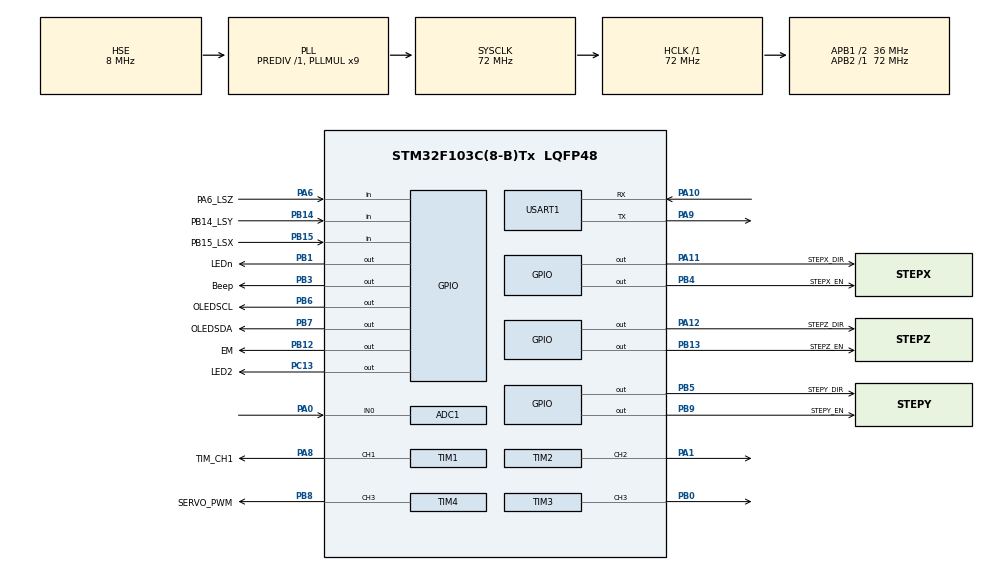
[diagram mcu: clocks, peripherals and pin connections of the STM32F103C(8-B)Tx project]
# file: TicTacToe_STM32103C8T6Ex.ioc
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ADC1.Channel-7\#ChannelRegularConversion=ADC_CHANNEL_0
ADC1.ContinuousConvMode=DISABLE
ADC1.DiscontinuousConvMode=DISABLE
ADC1.EnableAnalogWatchDog=false
ADC1.EnableInjectedConversion=DISABLE
ADC1.EnableRegularConversion=ENABLE
ADC1.NbrOfConversion=1
ADC1.NbrOfConversionFlag=1
ADC1.Rank-7\#ChannelRegularConversion=1
ADC1.SamplingTime-7\#ChannelRegularConversion=ADC_SAMPLETIME_7CYCLES_5
ADC1.master=1
Mcu.Family=STM32F1
Mcu.Name=STM32F103C(8-B)Tx
Mcu.Package=LQFP48
NVIC.ADC1_2_IRQn=true\:2\:0\:true\:false\:true\:true\:true\:true
NVIC.PriorityGroup=NVIC_PRIORITYGROUP_4
NVIC.TIM1_CC_IRQn=true\:0\:0\:false\:false\:true\:true\:true\:true
NVIC.TIM2_IRQn=true\:0\:0\:false\:false\:true\:true\:true\:true
NVIC.TIM3_IRQn=true\:0\:0\:false\:false\:true\:true\:true\:true
NVIC.TIM4_IRQn=true\:1\:0\:true\:false\:true\:true\:true\:true
NVIC.USART1_IRQn=true\:2\:0\:true\:false\:true\:true\:true\:true
PA0-WKUP.Signal=ADCx_IN0
PA1.Signal=S_TIM2_CH2
PA10.GPIO_Mode=GPIO_MODE_INPUT
PA10.GPIO_PuPd=GPIO_NOPULL
PA10.Mode=Asynchronous
PA10.Signal=USART1_RX
PA11.GPIO_Label=STEPX_DIR
PA11.GPIO_PuPd=GPIO_PULLUP
PA11.Signal=GPIO_Output
PA12.GPIO_Label=STEPZ_DIR
PA12.GPIO_PuPd=GPIO_PULLUP
PA12.Signal=GPIO_Output
PA13.GPIO_Label=SWDIO
PA13.Mode=Serial_Wire
PA13.Signal=SYS_JTMS-SWDIO
PA14.GPIO_Label=SWCLK
PA14.Mode=Serial_Wire
PA14.Signal=SYS_JTCK-SWCLK
PA6.GPIO_Label=PA6_LSZ
PA6.GPIO_PuPd=GPIO_PULLUP
PA6.Signal=GPIO_Input
PA8.GPIO_Label=TIM_CH1
PA8.Signal=S_TIM1_CH1
PA9.GPIO_Mode=GPIO_MODE_AF_PP
PA9.GPIO_Speed=GPIO_SPEED_FREQ_HIGH
PA9.Mode=Asynchronous
PA9.Signal=USART1_TX
PB0.Signal=S_TIM3_CH3
PB1.GPIO_Label=LEDn
PB1.GPIO_PuPd=GPIO_PULLDOWN
PB1.PinState=GPIO_PIN_RESET
PB1.Signal=GPIO_Output
PB12.GPIO_Label=EM
PB12.GPIO_PuPd=GPIO_PULLDOWN
PB12.Signal=GPIO_Output
PB13.GPIO_Label=STEPZ_EN
PB13.GPIO_PuPd=GPIO_PULLUP
PB13.PinState=GPIO_PIN_SET
PB13.Signal=GPIO_Output
PB14.GPIO_Label=PB14_LSY
PB14.GPIO_PuPd=GPIO_PULLUP
PB14.Signal=GPIO_Input
PB15.GPIO_Label=PB15_LSX
PB15.GPIO_PuPd=GPIO_PULLUP
PB15.Signal=GPIO_Input
PB3.GPIO_Label=Beep
PB3.GPIO_PuPd=GPIO_PULLUP
PB3.Signal=GPIO_Output
PB4.GPIO_Label=STEPX_EN
PB4.GPIO_ModeDefaultOutputPP=GPIO_MODE_OUTPUT_PP
PB4.GPIO_PuPd=GPIO_PULLUP
PB4.PinState=GPIO_PIN_SET
PB4.Signal=GPIO_Output
PB5.GPIO_Label=STEPY_DIR
PB5.GPIO_PuPd=GPIO_PULLUP
PB5.Signal=GPIO_Output
PB6.GPIO_Label=OLEDSCL
PB6.GPIO_PuPd=GPIO_PULLUP
PB6.Signal=GPIO_Output
PB7.GPIO_Label=OLEDSDA
PB7.GPIO_PuPd=GPIO_PULLUP
PB7.Signal=GPIO_Output
PB8.GPIO_Label=SERVO_PWM
PB8.Signal=S_TIM4_CH3
PB9.GPIO_Label=STEPY_EN
PB9.GPIO_PuPd=GPIO_PULLUP
PB9.PinState=GPIO_PIN_SET
PB9.Signal=GPIO_Output
PC13-TAMPER-RTC.GPIO_Label=LED2
PC13-TAMPER-RTC.GPIO_ModeDefaultOutputPP=GPIO_MODE_OUTPUT_PP
PC13-TAMPER-RTC.GPIO_PuPd=GPIO_NOPULL
PC13-TAMPER-RTC.PinState=GPIO_PIN_SET
PC13-TAMPER-RTC.Signal=GPIO_Output
PD0-OSC_IN.Mode=HSE-External-Oscillator
PD0-OSC_IN.Signal=RCC_OSC_IN
PD1-OSC_OUT.Mode=HSE-External-Oscillator
PD1-OSC_OUT.Signal=RCC_OSC_OUT
ProjectManager.HeapSize=0x200
ProjectManager.StackSize=0x400
ProjectManager.TargetToolchain=CMake
RCC.ADCPresc=RCC_ADCPCLK2_DIV6
RCC.AHBFreq_Value=72000000
RCC.APB1CLKDivider=RCC_HCLK_DIV2
RCC.APB1Freq_Value=36000000
RCC.APB1TimFreq_Value=72000000
RCC.APB2Freq_Value=72000000
RCC.APB2TimFreq_Value=72000000
RCC.HCLKFreq_Value=72000000
RCC.PLLMUL=RCC_PLL_MUL9
RCC.PLLSourceVirtual=RCC_PLLSOURCE_HSE
RCC.SYSCLKFreq_VALUE=72000000
RCC.SYSCLKSource=RCC_SYSCLKSOURCE_PLLCLK
RCC.USBFreq_Value=72000000
SH.ADCx_IN0.0=ADC1_IN0,IN0
SH.S_TIM1_CH1.0=TIM1_CH1,PWM Generation1 CH1
SH.S_TIM2_CH2.0=TIM2_CH2,PWM Generation2 CH2
SH.S_TIM3_CH3.0=TIM3_CH3,PWM Generation3 CH3
TIM1.Channel-PWM\ Generation1\ CH1=TIM_CHANNEL_1
TIM1.Period=1800-1
TIM1.Prescaler=72-1
TIM1.Pulse-PWM\ Generation1\ CH1=900-1
TIM2.Channel-PWM\ Generation2\ CH2=TIM_CHANNEL_2
TIM2.Period=1667-1
TIM2.Prescaler=72-1
TIM2.Pulse-PWM\ Generation2\ CH2=834-1
TIM3.Channel-PWM\ Generation3\ CH3=TIM_CHANNEL_3
TIM3.Channel-PWM\ Generation4\ CH4=TIM_CHANNEL_4
TIM3.Period=2500-1
TIM3.Prescaler=72-1
TIM3.Pulse-PWM\ Generation3\ CH3=1250-1
SH.S_TIM4_CH3.0=TIM4_CH3,PWM Generation3 CH3
TIM4.Channel-PWM\ Generation3\ CH3=TIM_CHANNEL_3
TIM4.Period=20000-1
TIM4.Prescaler=72-1
TIM4.Pulse-PWM\ Generation3\ CH3=0
USART1.VirtualMode=VM_ASYNC
VP_TIM2_VS_ClockSourceINT.Mode=Internal
VP_TIM3_VS_ClockSourceINT.Mode=Internal
VP_TIM4_VS_ClockSourceINT.Mode=Internal
board=custom

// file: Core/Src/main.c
/* USER CODE BEGIN Header */
/**
  ******************************************************************************
  * @file           : main.c
  * @brief          : Main program body
  ******************************************************************************
	*桂林电子科技大学信息与通信学院
  ******************************************************************************
本程序为STM32F103C8T6的板HAL库版本
  ******************************************************************************
  */
/* USER CODE END Header */
#include "main.h"
#include "adc.h"
#include "tim.h"
#include "usart.h"
#include "gpio.h"

/* USER CODE BEGIN Includes */
#include "key.h"
#include "stdio.h"
#include "oled.h"
//#include "bmp.h"
#include "StepMotor.h"
#include "Servo.h"
/* USER CODE END Includes */

/* USER CODE BEGIN PV */
//***********以下变量在key.c中定义
extern KEY_NAME KeyNameNow;//当前按下的是哪个按键;
extern KEY_NAME KeyNameBefore;//记录上一次按下的是哪个按键
extern KEY_STATE KeyState;//按键状态，长按或短按的返回值为按下时的状态
extern KEY_STATE KeyStateBefore;//按键之前的历史状态，长按或短按的返回值为按下时的状态
extern MENU_NAME MenuName;//当前的菜单选项
extern PRESS_KEY PressTheKeyAction;

extern volatile uint16_t PulseNumOfStepMotorX;
extern volatile uint16_t PulseNumOfStepMotorY;//步进电机运动的脉冲数
extern volatile uint16_t PulseNumOfStepMotorZ;
extern volatile uint8_t FlagDirOfStepMotorX;//步进电机方向
extern volatile uint8_t FlagDirOfStepMotorY;
extern volatile uint8_t FlagDirOfStepMotorZ;
extern volatile uint16_t PosX;//步进电机位置
extern volatile uint16_t PosY;
extern volatile uint16_t PosZ;//步进电机当前位置
extern volatile uint8_t FlagMotorZReset;//Z轴复位标志
extern uint8_t FlagLEDn;//为41时表示LED正在被操作，为40时表示LED空闲操作
extern volatile uint8_t FlagReset ;//复位标志
extern uint8_t FlagMotorHomeing;
extern volatile uint8_t UART1_Rx_flg;//串口接收数据的中断标志
extern uint16_t PosBuf0[3];//取棋子的电源位置坐标
extern uint16_t PosBuf1[3] ;//放棋子的目标位置坐标
extern uint8_t RecBuf[];//串口接收缓冲

static uint8_t ContinuousPositionPending = 0;
static uint32_t ContinuousPositionTick = 0;
uint16_t BeepCurrentMillis = 0;//蜂鸣器发声计时
uint16_t BeepTime = 0;//蜂鸣器响的时长
uint8_t FlagBeep = 0;//蜂鸣器工作标志

uint8_t FlagEM = 0;//电磁铁开关标志
//extern uint8_t FlagEnabeMotorC_Tim2;

/* USER CODE END PV */

void SystemClock_Config(void);

int main(void)
{

  /* USER CODE BEGIN 1 */

//	uint8_t MenuName = MENU_MAIN_WalkAside;
  /* USER CODE END 1 */

  /* MCU Configuration--------------------------------------------------------*/

  /* Reset of all peripherals, Initializes the Flash interface and the Systick. */
  HAL_Init();

  /* Configure the system clock */
  SystemClock_Config();

  /* Initialize all configured peripherals */
  MX_GPIO_Init();
  MX_USART1_UART_Init();
  MX_ADC1_Init();
  MX_TIM4_Init();
  MX_TIM2_Init();
  MX_TIM3_Init();
  MX_TIM1_Init();
  /* USER CODE BEGIN 2 */

	HAL_ADCEx_Calibration_Start(&hadc1);//开始ADC之前校准
	HAL_TIM_OC_Start_IT(&htim4,TIM_CHANNEL_1);//保持原来的1ms按键、ADC和蜂鸣器计时
	SERVO_Init();//启动PB8舵机，并转到90度初始位置
	Beep(100);
	HAL_Delay(100);
	OLED_Init();
	OLED_ColorTurn(0);//0正常显示，1 反色显示
    OLED_DisplayTurn(0);//0正常显示 1 屏幕翻转显示
	//OLED_ShowMenu(MenuName);

	HAL_TIM_PWM_Start_IT(&htim1,TIM_CHANNEL_1);//启动X_STEP,底座支撑臂水平移动的X轴步进电机
	HAL_TIM_PWM_Start_IT(&htim3,TIM_CHANNEL_3);//启动Y_STEP,机械臂水平移动的Y轴步进电机
	HAL_TIM_PWM_Start_IT(&htim2,TIM_CHANNEL_2);//启动Z_STEP,机械臂上下移动的Z轴步进电机

	ResetStepMotor();//各轴步进电机复位

	HAL_GPIO_WritePin(LED2_GPIO_Port, LED2_Pin, GPIO_PIN_RESET);
	HAL_Delay(400);
	HAL_GPIO_TogglePin(LED2_GPIO_Port, LED2_Pin);

  /* USER CODE END 2 */

  /* Infinite loop */
  /* USER CODE BEGIN WHILE */
//

//	HAL_UART_Transmit(&huart1,RecBuf,17,10); //显示运行中数值 ,调试时可以打开使用

  while (1)
  {

		if(UART1_Rx_flg ==1)//串口发送控制命令，单片机串口接收到17个字节数据后
		{
			UART1_Rx_flg = 0;//先消费当前接收事件，避免同一帧被重复执行
			if(USART1_RecCommand() ==1)//命令解析取数据
			{
				uint8_t ActionResult;
				ContinuousPositionPending = 0;
				USART1_SendStatus(STATUS_COMMAND_ACCEPTED);
				if(RecBuf[2] == COMMAND_DUAL_SERVO_CONTINUE)
				{
					ActionResult = TakeAndPutDownTheChessWithAnglesContinuous(PosBuf0[0], PosBuf0[1], PosBuf1[0], PosBuf1[1], PosBuf0[2], PosBuf1[2]);
				}
				else if(RecBuf[2] == COMMAND_DUAL_SERVO_ANGLE)
				{
					ActionResult = TakeAndPutDownTheChessWithAngles(PosBuf0[0], PosBuf0[1], PosBuf1[0], PosBuf1[1], PosBuf0[2], PosBuf1[2]);
				}
				else
				{
					uint16_t ServoAngle = SERVO_PICKED_ANGLE;
					if(PosBuf0[2] == SERVO_COMMAND_MARKER)
					{
						ServoAngle = PosBuf1[2];
					}
					ActionResult = TakeAndPutDownTheChess(PosBuf0[0], PosBuf0[1], PosBuf1[0], PosBuf1[1], ServoAngle);//在指定位置取棋子，并按指定角度放置
				}
				if(ActionResult == 1)
				{
					if(RecBuf[2] == COMMAND_DUAL_SERVO_CONTINUE)
					{
						USART1_SendStatus(STATUS_ACTION_CONTINUE_READY);
						ContinuousPositionPending = 1;
						ContinuousPositionTick = HAL_GetTick();
					}
					else
					{
						USART1_SendStatus(STATUS_ACTION_COMPLETE);
					}
				}
				else
					USART1_SendStatus(STATUS_ACTION_FAILED);
			}
			HAL_UART_Receive_IT(&huart1, RecBuf, 17);//等待下一次的接收
		}

		if(ContinuousPositionPending == 1
			&& HAL_GetTick() - ContinuousPositionTick >= 3000U)
		{
			ContinuousPositionPending = 0;
			ResetStepMotor();
			USART1_SendStatus(STATUS_ACTION_COMPLETE);
		}

		GetKeyStatue();//获取按键状态值，放在大循环中处理占用时间短的话，按键识别不到按键抬键

//	  SERVO_MoveToAngle(0);
//HAL_Delay(2000);

//SERVO_MoveToAngle(45);
//HAL_Delay(2000);

//SERVO_MoveToAngle(90);
//HAL_Delay(2000);

//SERVO_MoveToAngle(135);
//HAL_Delay(2000);

//SERVO_MoveToAngle(180);
//HAL_Delay(2000);

//SERVO_MoveToAngle(270);
//HAL_Delay(2000);

//        // TakeAndPutDownTheChess(Chessboard[0][0], Chessboard[0][1], Chessboard[1][0], Chessboard[1][1]);
//		// TakeAndPutDownTheChess(Chessboard[2][0], Chessboard[2][1], Chessboard[3][0], Chessboard[3][1]);
//		// TakeAndPutDownTheChess(Chessboard[4][0], Chessboard[4][1], Chessboard[5][0], Chessboard[5][1]);
//		// TakeAndPutDownTheChess(Chessboard[6][0], Chessboard[6][1], Chessboard[7][0], Chessboard[7][1]);
//		// TakeAndPutDownTheChess(Chessboard[8][0], Chessboard[8][1], Chessboard[0][0], Chessboard[0][1]);

// 		if(PressTheKeyAction != PressNoneKey) //有按键按下时按键状态的改变
// 		{
// //			printf("PressTheKeyAction:%#x\r\n",PressTheKeyAction);

// 			switch (MenuName)//根据当前按下的菜单项，和读取的按键状态进行判断处理
// 			{
// 				case MENU_MAIN_WalkAside://主菜单的巡边 选项
// 					switch (PressTheKeyAction)//按键处理
// 					{
// 						case PressKey_Down://短按下键
// 						case PressKey_Right://短按右键
// 							MenuName = MENU_MAIN_MoveTheChess ;
// 							break;
// 						case PressKey_Up://短按上键
// 						case PressKey_Left://短按左键
// 							MenuName = MENU_MAIN_Z_Axis0 ;
// 							break;

// 						case PressKey_Mid://短按中键
// 							OLED_ShowChinese(0,16,15,16,1);//显示实心圆，表示正在写入人工操作
// 							OLED_Refresh();
// 							TestMotor1();////测试平台的机械臂运动最大范围
// 							OLED_ShowChinese(0,16,49,16,1);//
// 							OLED_Refresh();
// 							break;

// 						default:
// 							break;
// 					}
// 					break;
// 				case MENU_MAIN_MoveTheChess://主菜单的搬棋 选项
// 					switch (PressTheKeyAction)//按此菜单的2选项
// 					{
// 						case PressKey_Down://短按下键
// 						case  PressKey_Right://短按右键
// 							MenuName ++;
// 							break;
// 						case PressKey_Left://短按左键
// 						case PressKey_Up://短按上键
// 							MenuName --;
// 							break;

// 						case PressKey_Mid://短按中键
// 							OLED_ShowChinese(0,32,15,16,1);//显示实心圆，表示正在写入人工操作
// 							OLED_Refresh();
// 							TestMotor2();////测试平台的机械臂夹取棋子
// 							OLED_ShowChinese(0,32,49,16,1);//
// 							OLED_Refresh();

// 							break;
// 						default:
// 							break;
// 					}
// 					break;

// 				case MENU_MAIN_Z_Axis0://主菜单的Z轴 电动工具
// 					switch (PressTheKeyAction)//
// 					{
// 						case PressKey_Down://短按下键
// 						case  PressKey_Right://短按右键
// 							MenuName = MENU_MAIN_WalkAside;
// 							break;
// 						case PressKey_Up://短按上键
// 						case PressKey_Left://短按左键
// 							MenuName = MENU_MAIN_MoveTheChess;
// 							break;
// 						case PressKey_Mid://短按中键
// 							MenuName = MENU_ZAxis;
// 							break;
// 						default:
// 							break;

// 					}
// 					break;

// 				//*******************以下是Z轴的子菜单处理*******************************
// 				case MENU_ZAxis://以下是Z轴的子菜单处理
// 				case MENU_ZAxis_SHORT_PRESS_UP://在Z轴向上移动
// 				case MENU_ZAxis_SHORT_PRESS_DOWN://在Z轴向下移动
// 				case MENU_ZAxis_LONG_PRESS_UP://在Z轴向上移动
// 				case MENU_ZAxis_LONG_PRESS_DOWN://在Z轴向下移动
// 				case MENU_ZAxis_SHORT_PRESS_EM_ON://在Z轴向上移动
// 				case MENU_ZAxis_SHORT_PRESS_EM_OFF://在Z轴向下移动
// 					switch (PressTheKeyAction)
// 					{
// 						case PressKey_Up://短按上键
// 							if(PosZ > 0)
// 							{
// 								DriveStepMotor(StepMotorZ,NegativeDir,SHORT_PRESS_PLUSE);
// 								MenuName = MENU_ZAxis_SHORT_PRESS_UP;
// 							}
// 							break;
// 						case PressKey_Down://短按下键
// 							if(PosZ < MAXPosZ)
// 							{

// 								DriveStepMotor(StepMotorZ,PositiveDir,SHORT_PRESS_PLUSE);
// 								MenuName = MENU_ZAxis_SHORT_PRESS_DOWN;
// 							}
// 							break;
// 						case  PressAndHoldKey_Up://长按上键
// 							if(PosZ > 0)
// 							{
// 								DriveStepMotor(StepMotorZ,NegativeDir,SHORT_PRESS_PLUSE * 4);
// 								MenuName = MENU_ZAxis_LONG_PRESS_UP;
// 							}
// 							break;
// 						case  PressAndHoldKey_Down://长按下键
// 							if(PosZ < MAXPosZ)
// 							{
// 								DriveStepMotor(StepMotorZ,PositiveDir,SHORT_PRESS_PLUSE * 4);
// 								MenuName = MENU_ZAxis_LONG_PRESS_DOWN;
// 							}
// 							break;
// 						case PressKey_Mid://短按下键
// 							if(FlagEM == 0)
// 							{
// 								FlagEM = 1;
// 								MenuName = MENU_ZAxis_SHORT_PRESS_EM_ON;
// 								ControlEM(1);//打开电磁铁

// 							}
// 							else
// 							{
// 								FlagEM = 0;
// 								MenuName = MENU_ZAxis_SHORT_PRESS_EM_OFF;
// 								ControlEM(0);//关闭电磁铁
// 							}
// 							break;
// 						case PressKey_Left://短按左键
// 						case PressKey_Right://短按右键
// 						case PressKey_Side://短按侧键
// 						case PressAndHoldKey_Side://长按侧键
// 							MenuName = MENU_MAIN_Z_Axis0;//退出Z轴控制
// 							ControlEM(0);//关闭电磁铁
// 							DriveStepMotor(StepMotorZ,NegativeDir,MAXPosZ);
// 							break;

// 						default:
// 							break;
// 					}
// 					break;

// 				default:
// 					break;

// 				}
// 				OLED_ShowMenu(MenuName);
// 			}

		}//////////////////////////////////////////////////////////////////////////////////////////

    /* USER CODE END WHILE */

}

void SystemClock_Config(void)
{
  RCC_OscInitTypeDef RCC_OscInitStruct = {0};
  RCC_ClkInitTypeDef RCC_ClkInitStruct = {0};
  RCC_PeriphCLKInitTypeDef PeriphClkInit = {0};

  /** Initializes the RCC Oscillators according to the specified parameters
  * in the RCC_OscInitTypeDef structure.
  */
  RCC_OscInitStruct.OscillatorType = RCC_OSCILLATORTYPE_HSE;
  RCC_OscInitStruct.HSEState = RCC_HSE_ON;
  RCC_OscInitStruct.HSEPredivValue = RCC_HSE_PREDIV_DIV1;
  RCC_OscInitStruct.HSIState = RCC_HSI_ON;
  RCC_OscInitStruct.PLL.PLLState = RCC_PLL_ON;
  RCC_OscInitStruct.PLL.PLLSource = RCC_PLLSOURCE_HSE;
  RCC_OscInitStruct.PLL.PLLMUL = RCC_PLL_MUL9;
  if (HAL_RCC_OscConfig(&RCC_OscInitStruct) != HAL_OK)
  {
    Error_Handler();
  }

  /** Initializes the CPU, AHB and APB buses clocks
  */
  RCC_ClkInitStruct.ClockType = RCC_CLOCKTYPE_HCLK|RCC_CLOCKTYPE_SYSCLK
                              |RCC_CLOCKTYPE_PCLK1|RCC_CLOCKTYPE_PCLK2;
  RCC_ClkInitStruct.SYSCLKSource = RCC_SYSCLKSOURCE_PLLCLK;
  RCC_ClkInitStruct.AHBCLKDivider = RCC_SYSCLK_DIV1;
  RCC_ClkInitStruct.APB1CLKDivider = RCC_HCLK_DIV2;
  RCC_ClkInitStruct.APB2CLKDivider = RCC_HCLK_DIV1;

  if (HAL_RCC_ClockConfig(&RCC_ClkInitStruct, FLASH_LATENCY_2) != HAL_OK)
  {
    Error_Handler();
  }
  PeriphClkInit.PeriphClockSelection = RCC_PERIPHCLK_ADC;
  PeriphClkInit.AdcClockSelection = RCC_ADCPCLK2_DIV6;
  if (HAL_RCCEx_PeriphCLKConfig(&PeriphClkInit) != HAL_OK)
  {
    Error_Handler();
  }
}

/* USER CODE BEGIN 4 */
void HAL_TIM_PWM_PulseFinishedCallback(TIM_HandleTypeDef *htim)
{

		if( htim ->Instance == TIM1  )//TIM1_CH2为X轴
		{

			if(FlagReset == 0)//在归零时，此中断还在运行，归零以限位开关为准，因此归零时不能用下面的代码
			{
				if(PulseNumOfStepMotorX >0)//TIM1_CH2为X轴，当前要运动的步进电机脉冲数
				{
					PulseNumOfStepMotorX--;//运动脉冲数减一
					if(FlagDirOfStepMotorX == PositiveDir && PosX <= MAXPosX)
						PosX++;
					else if(FlagDirOfStepMotorX == NegativeDir )
						PosX--;
				}
				else
				{
					DisableStepMotor(StepMotorX);

	//				printf("NumY:%#x\r\n",PulseNumOfStepMotorX);
	//				printf("PosX:%#x\r\n",PosX);
				}
	//
			}
		}
		if( htim ->Instance == TIM3  )//TIM3_CH3为Y轴
		{
			if(FlagReset == 0)//在归零时，此中断还在运行，归零以限位开关为准，因此归零时不能用下面的代码
			{

					if(PulseNumOfStepMotorY >0)//当前要运动的步进电机脉冲数
					{
						PulseNumOfStepMotorY--;//运动脉冲数减一
						if(FlagDirOfStepMotorY == PositiveDir && PosY <= MAXPosY)
							PosY++;
						else if(FlagDirOfStepMotorY == NegativeDir  )
							PosY--;
					}
					else
					{
						DisableStepMotor(StepMotorY);
		//				printf("NumX:%#x\r\n",PulseNumOfStepMotorY);
		//				printf("PosY:%#x\r\n",PosY);
					}
			}
		}
		if( htim ->Instance == TIM2 )//TIM2_CH3为Z轴
		{
			if(PulseNumOfStepMotorZ >0)//当前要运动的步进电机脉冲数
			{
				PulseNumOfStepMotorZ--;//运动脉冲数减一
				if(FlagDirOfStepMotorZ == PositiveDir && PosZ <= MAXPosZ)
					PosZ++;
				else if(FlagDirOfStepMotorZ == NegativeDir && PosZ > SHORT_PRESS_PLUSE)
				{
					PosZ--;
				}

			}
			else
			{
				DisableStepMotor(StepMotorZ);
			}

		}
}

int fputc(int ch,FILE*f)
{
	HAL_UART_Transmit(&huart1,(uint8_t*)&ch,1,HAL_MAX_DELAY);
	return ch;
}

void HAL_ADC_ConvCpltCallback(ADC_HandleTypeDef* hadc)//ADC回调函数，根据中断对应的ADC值
{

	uint16_t ADC0_Value = 0;//ADC的读值

	KeyNameBefore = KeyNameNow;//把前1次读到的按键值
	//**********判断按键的值*********************************************
	ADC0_Value = HAL_ADC_GetValue(&hadc1);//获取ADc转换的数据，其值为12位
	//根据按键按下时的ADC值取中间值，作为阈值，判断当前按下的是哪个按键
	if (ADC0_Value<561)////侧按键的按键值
		KeyNameNow = SIDE_KEY;
	else if(ADC0_Value < 2388)
		KeyNameNow = UP_KEY;
	else if(ADC0_Value < 2900)
		KeyNameNow = LEFT_KEY;
	else if(ADC0_Value < 3173)
		KeyNameNow =  MID_KEY;
	else if(ADC0_Value < 3345)
		KeyNameNow = RIGHT_KEY;
	else if(ADC0_Value < 3753)
		KeyNameNow = DOWN_KEY;
	else
		KeyNameNow = NONE_KEY;

	JudgeKeyByStateMachine();//判断按键处理
}

void HAL_TIM_OC_DelayElapsedCallback(TIM_HandleTypeDef *htim)
{
	uint32_t NextCompare;

	if(htim->Instance == TIM4 && htim->Channel == HAL_TIM_ACTIVE_CHANNEL_1)
	{
		NextCompare = __HAL_TIM_GET_COMPARE(&htim4, TIM_CHANNEL_1) + 1000U;
		if(NextCompare >= SERVO_PWM_PERIOD)
		{
			NextCompare -= SERVO_PWM_PERIOD;
		}
		__HAL_TIM_SET_COMPARE(&htim4, TIM_CHANNEL_1, NextCompare);

		if(FlagBeep == 1)
		{
			BeepCurrentMillis++;
			if(BeepCurrentMillis >= BeepTime)
			{
				FlagBeep = 0;
				HAL_GPIO_WritePin(Beep_GPIO_Port, Beep_Pin, GPIO_PIN_RESET);//关闭蜂鸣器
			}
		}

		HAL_ADC_Start_IT(&hadc1);//保持原来的1ms ADC按键采样
	}
}

void Beep(uint16_t BeepDurtion)//蜂鸣器发声
{
	FlagBeep = 1;//此处打开，由TIM4的1ms定时中断来关闭
	BeepTime = BeepDurtion;
	BeepCurrentMillis = 0;
	HAL_GPIO_WritePin(Beep_GPIO_Port, Beep_Pin, GPIO_PIN_SET);//打开蜂鸣器

}

// 中断回调函数
void HAL_UART_RxCpltCallback(UART_HandleTypeDef *huart)
{
	if (huart->Instance == USART1)
	{
//		RecBuf[UART1_Rx_cnt++] = UART1_temp[0];
//		if (UART1_temp[0] == 0x0A)
//		{
//
//		}

		UART1_Rx_flg = 1;
	}
}

/* USER CODE END 4 */

void Error_Handler(void)
{
  __disable_irq();
  while (1)
  {
  }
}
